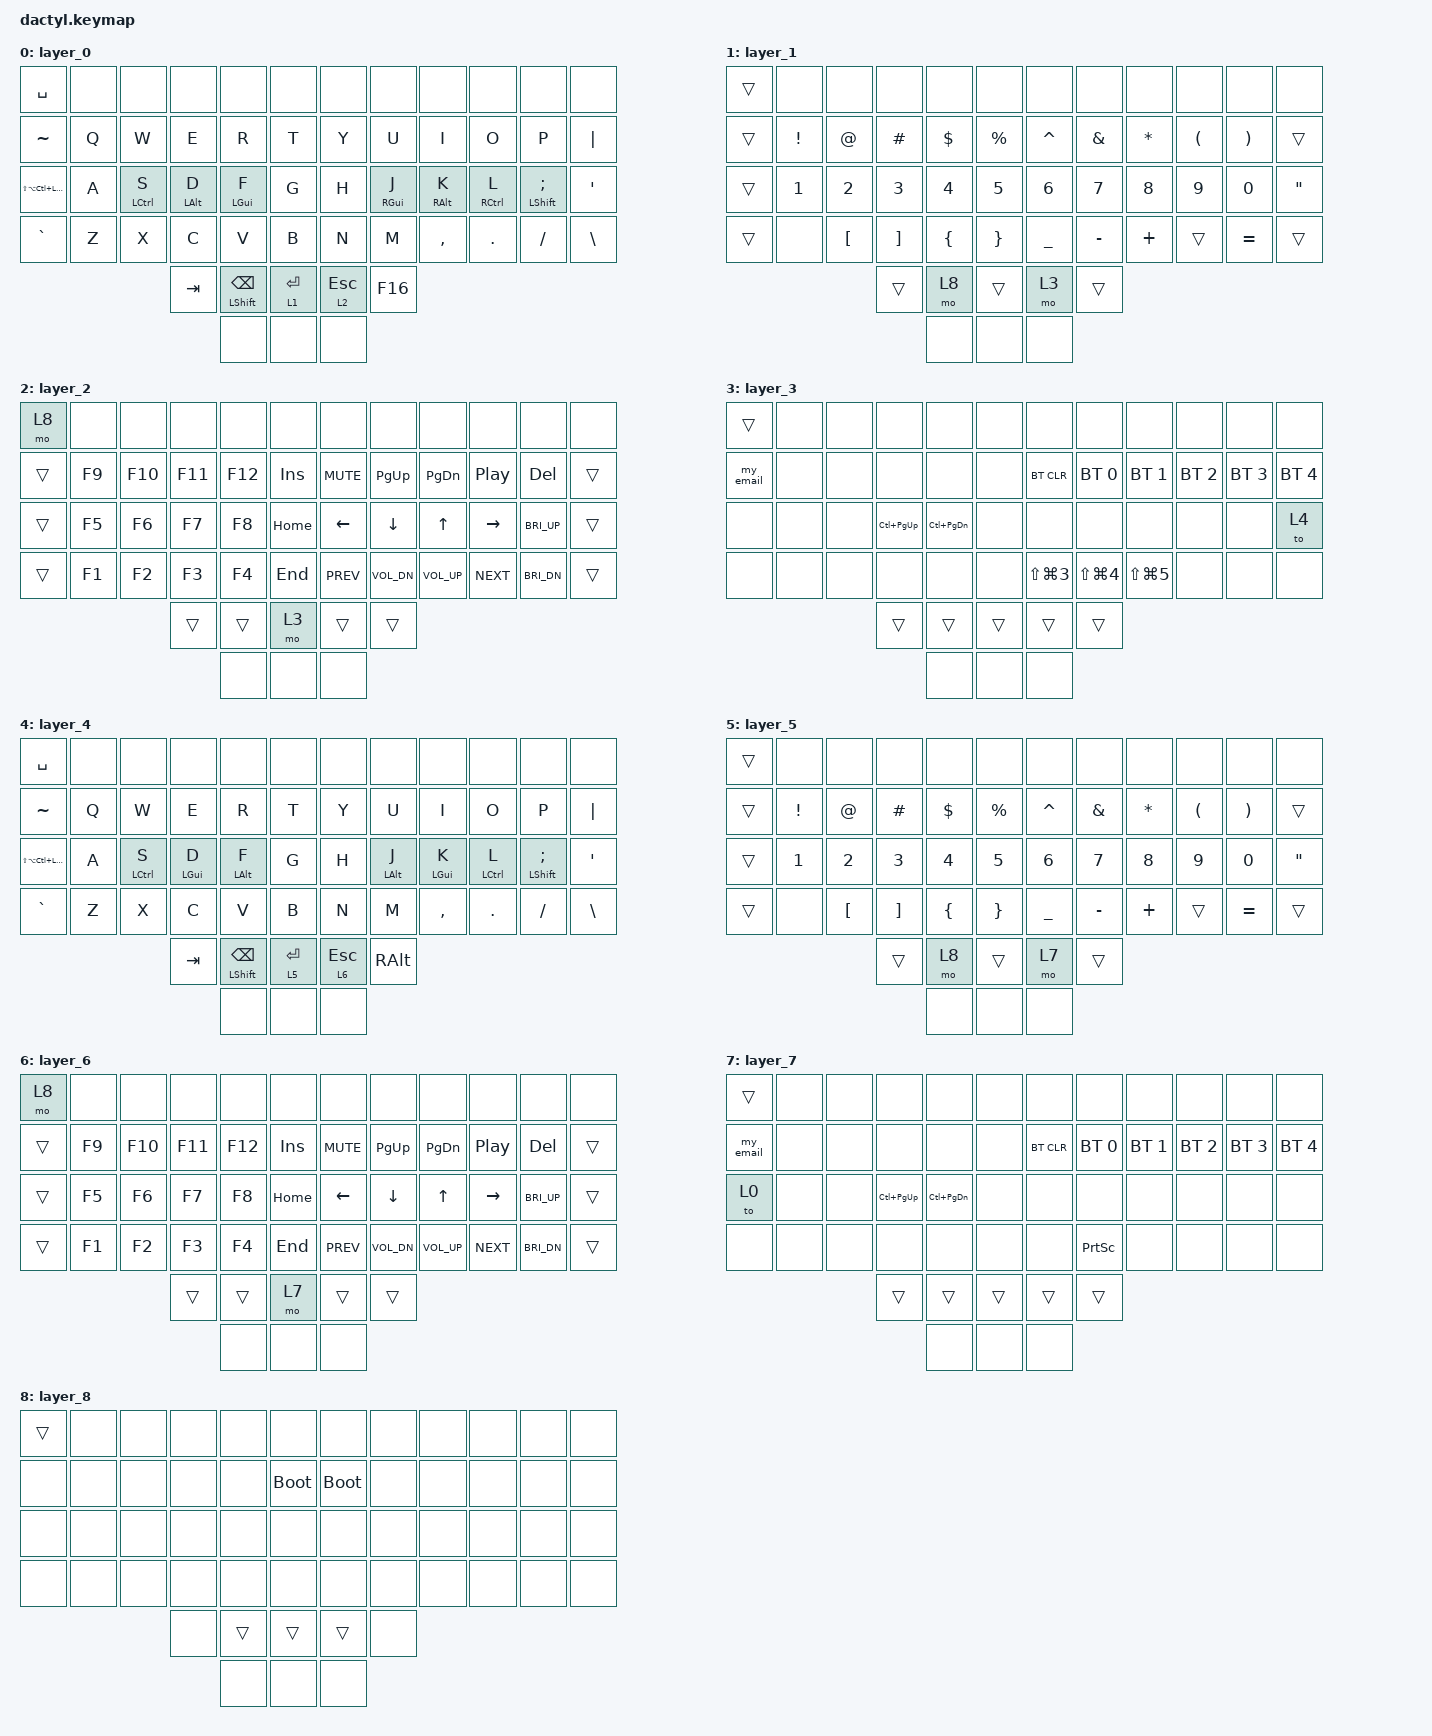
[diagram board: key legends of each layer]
#include <behaviors.dtsi>
#include <dt-bindings/zmk/bt.h>
#include <dt-bindings/zmk/keys.h>

&lt {
    flavor = "hold-preferred";
    quick-tap-ms = <200>;
};

&mt {
    flavor = "hold-preferred";
    quick-tap-ms = <200>;
};

/ {
    combos {
        compatible = "zmk,combos";

        less_then {
            bindings = <&kp LESS_THAN>;
            key-positions = <43 44>;
            timeout-ms = <60>;
            layers = <0 1 4 5>;
        };

        greater_then {
            bindings = <&kp GREATER_THAN>;
            key-positions = <44 45>;
            timeout-ms = <60>;
            layers = <0 1 4 5>;
        };

        mac_undo {
            bindings = <&kp LG(Z)>;
            key-positions = <37 38>;
            timeout-ms = <60>;
            layers = <0>;
        };

        mac_cut {
            bindings = <&kp LG(X)>;
            key-positions = <40 38>;
            timeout-ms = <60>;
            layers = <0>;
        };

        mac_copy {
            bindings = <&kp LG(C)>;
            key-positions = <38 39>;
            timeout-ms = <60>;
            layers = <0>;
        };

        mac_paste {
            bindings = <&kp LG(V)>;
            key-positions = <40 39>;
            timeout-ms = <60>;
            layers = <0>;
        };

        win_undo {
            bindings = <&kp LC(Z)>;
            key-positions = <37 38>;
            timeout-ms = <60>;
            layers = <4>;
        };

        win_copy {
            bindings = <&kp LC(C)>;
            key-positions = <38 39>;
            timeout-ms = <60>;
            layers = <4>;
        };

        win_paste {
            bindings = <&kp LC(V)>;
            key-positions = <40 39>;
            timeout-ms = <60>;
            layers = <4>;
        };
    };

    macros {
        my_email: my_email {
            compatible = "zmk,behavior-macro";
            #binding-cells = <0>;
            bindings = <&kp B &kp L &kp A &kp C &kp K &kp E &kp A &kp G &kp L &kp E &kp N1 &kp N0 &kp AT &kp I &kp C &kp L &kp O &kp U &kp D &kp DOT &kp C &kp O &kp M>;
            label = "MY_EMAIL";
        };
    };

    behaviors {
        hrm_l: hrm_l {
            compatible = "zmk,behavior-hold-tap";
            label = "HRM_L";
            bindings = <&kp>, <&kp>;

            #binding-cells = <2>;
            tapping-term-ms = <200>;
            flavor = "tap-preferred";
            hold-trigger-key-positions = <28 27 26 25 48 49 50 18 19 20 21 22 23 30 31 32 33 34 35 42 43 44 45 46 47 51 52 0>;
            quick-tap-ms = <200>;
        };

        hrm_r: hrm_r {
            compatible = "zmk,behavior-hold-tap";
            label = "HRM_R";
            bindings = <&kp>, <&kp>;

            #binding-cells = <2>;
            tapping-term-ms = <200>;
            flavor = "tap-preferred";
            hold-trigger-key-positions = <12 13 14 15 16 17 24 25 26 27 28 29 36 37 38 39 40 41 48 49 50 31 32 33 34 52 51 0>;
            quick-tap-ms = <200>;
        };
    };

    keymap {
        compatible = "zmk,keymap";

        layer_0 {
            bindings = <
&kp SPACE             &none  &none           &none          &none            &none          &none      &none          &none          &none           &none               &none
&kp TILDE             &kp Q  &kp W           &kp E          &kp R            &kp T          &kp Y      &kp U          &kp I          &kp O           &kp P               &kp PIPE
&kp LS(LA(LC(LGUI)))  &kp A  &hrm_l LCTRL S  &hrm_l LALT D  &hrm_l LGUI F    &kp G          &kp H      &hrm_r RGUI J  &hrm_r RALT K  &hrm_r RCTRL L  &hrm_r LSHIFT SEMI  &kp SQT
&kp GRAVE             &kp Z  &kp X           &kp C          &kp V            &kp B          &kp N      &kp M          &kp COMMA      &kp DOT         &kp SLASH           &kp BSLH
                                             &kp TAB        &mt LSHIFT BSPC  &lt 1 ENTER    &lt 2 ESC  &kp F16
                                                            &none            &none          &none
            >;

            trackball-bindings = <&tmv_coarse>;
        };

        layer_1 {
            bindings = <
&trans  &none     &none     &none     &none     &none        &none      &none      &none      &none     &none      &none
&trans  &kp EXCL  &kp AT    &kp HASH  &kp DLLR  &kp PRCNT    &kp CARET  &kp AMPS   &kp ASTRK  &kp LPAR  &kp RPAR   &trans
&trans  &kp N1    &kp N2    &kp N3    &kp N4    &kp N5       &kp N6     &kp N7     &kp N8     &kp N9    &kp N0     &kp DQT
&trans  &none     &kp LBKT  &kp RBKT  &kp LBRC  &kp RBRC     &kp UNDER  &kp MINUS  &kp PLUS   &trans    &kp EQUAL  &trans
                            &trans    &mo 8     &trans       &mo 3      &trans
                                      &none     &none        &none
            >;
        };

        layer_2 {
            bindings = <
&mo 8   &none   &none    &none    &none    &none       &none       &none         &none         &none             &none         &none
&trans  &kp F9  &kp F10  &kp F11  &kp F12  &kp INS     &kp C_MUTE  &kp PG_UP     &kp PG_DN     &kp C_PLAY_PAUSE  &kp DEL       &trans
&trans  &kp F5  &kp F6   &kp F7   &kp F8   &kp HOME    &kp LEFT    &kp DOWN      &kp UP        &kp RIGHT         &kp C_BRI_UP  &trans
&trans  &kp F1  &kp F2   &kp F3   &kp F4   &kp END     &kp C_PREV  &kp C_VOL_DN  &kp C_VOL_UP  &kp C_NEXT        &kp C_BRI_DN  &trans
                         &trans   &trans   &mo 3       &trans      &trans
                                  &none    &none       &none
            >;
        };

        layer_3 {
            bindings = <
&trans     &none  &none  &none          &none          &none     &none                 &none                 &none           &none         &none         &none
&my_email  &none  &none  &none          &none          &none     &bt BT_CLR            &bt BT_SEL 0          &bt BT_SEL 1    &bt BT_SEL 2  &bt BT_SEL 3  &bt BT_SEL 4
&none      &none  &none  &kp LC(PG_UP)  &kp LC(PG_DN)  &none     &none                 &none                 &none           &none         &none         &to 4
&none      &none  &none  &none          &none          &none     &kp LS(LG(NUMBER_3))  &kp LS(LG(NUMBER_4))  &kp LS(LG(N5))  &none         &none         &none
                         &trans         &trans         &trans    &trans                &trans
                                        &none          &none     &none
            >;
        };

        layer_4 {
            bindings = <
&kp SPACE             &none  &none           &none          &none            &none          &none      &none          &none          &none           &none               &none
&kp TILDE             &kp Q  &kp W           &kp E          &kp R            &kp T          &kp Y      &kp U          &kp I          &kp O           &kp P               &kp PIPE
&kp LS(LA(LC(LGUI)))  &kp A  &hrm_l LCTRL S  &hrm_l LGUI D  &hrm_l LALT F    &kp G          &kp H      &hrm_r LALT J  &hrm_r LGUI K  &hrm_r LCTRL L  &hrm_r LSHIFT SEMI  &kp SQT
&kp GRAVE             &kp Z  &kp X           &kp C          &kp V            &kp B          &kp N      &kp M          &kp COMMA      &kp DOT         &kp SLASH           &kp BSLH
                                             &kp TAB        &mt LSHIFT BSPC  &lt 5 ENTER    &lt 6 ESC  &kp RIGHT_ALT
                                                            &none            &none          &none
            >;
        };

        layer_5 {
            bindings = <
&trans  &none     &none     &none     &none     &none        &none      &none      &none      &none     &none      &none
&trans  &kp EXCL  &kp AT    &kp HASH  &kp DLLR  &kp PRCNT    &kp CARET  &kp AMPS   &kp ASTRK  &kp LPAR  &kp RPAR   &trans
&trans  &kp N1    &kp N2    &kp N3    &kp N4    &kp N5       &kp N6     &kp N7     &kp N8     &kp N9    &kp N0     &kp DQT
&trans  &none     &kp LBKT  &kp RBKT  &kp LBRC  &kp RBRC     &kp UNDER  &kp MINUS  &kp PLUS   &trans    &kp EQUAL  &trans
                            &trans    &mo 8     &trans       &mo 7      &trans
                                      &none     &none        &none
            >;
        };

        layer_6 {
            bindings = <
&mo 8   &none   &none    &none    &none    &none       &none       &none         &none         &none             &none         &none
&trans  &kp F9  &kp F10  &kp F11  &kp F12  &kp INS     &kp C_MUTE  &kp PG_UP     &kp PG_DN     &kp C_PLAY_PAUSE  &kp DEL       &trans
&trans  &kp F5  &kp F6   &kp F7   &kp F8   &kp HOME    &kp LEFT    &kp DOWN      &kp UP        &kp RIGHT         &kp C_BRI_UP  &trans
&trans  &kp F1  &kp F2   &kp F3   &kp F4   &kp END     &kp C_PREV  &kp C_VOL_DN  &kp C_VOL_UP  &kp C_NEXT        &kp C_BRI_DN  &trans
                         &trans   &trans   &mo 7       &trans      &trans
                                  &none    &none       &none
            >;
        };

        layer_7 {
            bindings = <
&trans     &none  &none  &none          &none          &none     &none       &none         &none         &none         &none         &none
&my_email  &none  &none  &none          &none          &none     &bt BT_CLR  &bt BT_SEL 0  &bt BT_SEL 1  &bt BT_SEL 2  &bt BT_SEL 3  &bt BT_SEL 4
&to 0      &none  &none  &kp LC(PG_UP)  &kp LC(PG_DN)  &none     &none       &none         &none         &none         &none         &none
&none      &none  &none  &none          &none          &none     &none       &kp PSCRN     &none         &none         &none         &none
                         &trans         &trans         &trans    &trans      &trans
                                        &none          &none     &none
            >;
        };

        layer_8 {
            bindings = <
&trans  &none  &none  &none  &none   &none          &none        &none  &none  &none  &none  &none
&none   &none  &none  &none  &none   &bootloader    &bootloader  &none  &none  &none  &none  &none
&none   &none  &none  &none  &none   &none          &none        &none  &none  &none  &none  &none
&none   &none  &none  &none  &none   &none          &none        &none  &none  &none  &none  &none
                      &none  &trans  &trans         &trans       &none
                             &none   &none          &none
            >;
        };
    };
};
